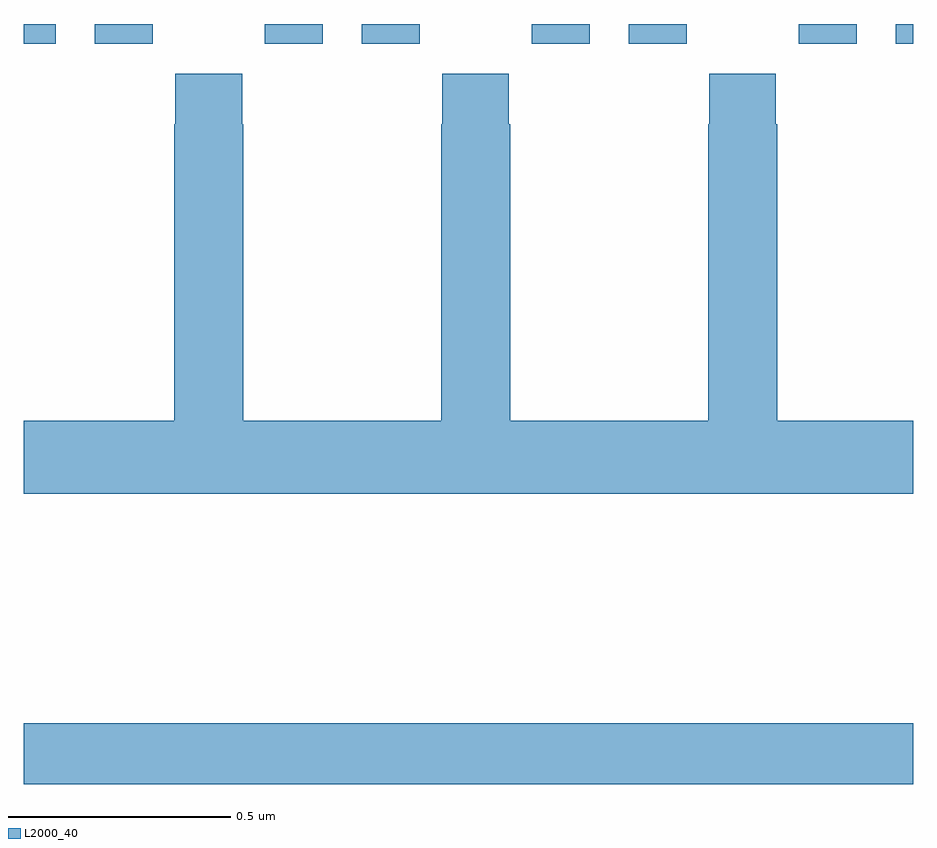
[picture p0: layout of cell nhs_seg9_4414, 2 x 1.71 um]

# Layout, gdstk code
import gdstk
lib = gdstk.Library(unit=1e-6, precision=1e-09)
def R(c, l, rs):  # rectangles x0, y0, x1, y1
    for r in rs: c.add(gdstk.rectangle(r[:2], r[2:], *l))
def P(c, l, *ps):  # polygons
    for p in ps: c.add(gdstk.Polygon(p, *l))
L2000_40 = (2000, 40)

nhs_seg9_4414 = lib.new_cell('nhs_seg9_4414')
R(nhs_seg9_4414, L2000_40, [(166,1171.792,168,1171.928), (166,1173.456,166.072,1173.5), (166.16,1173.456,166.29,1173.5), (166.542,1173.456,166.672,1173.5), (166.76,1173.456,166.89,1173.5), (167.142,1173.456,167.272,1173.5), (167.36,1173.456,167.49,1173.5), (167.742,1173.456,167.872,1173.5), (167.96,1173.456,168,1173.5)])
P(nhs_seg9_4414, L2000_40, [(168,1172.608),(167.694,1172.608),(167.694,1173.275),(167.691,1173.275),(167.691,1173.388),(167.541,1173.388),(167.541,1173.275),(167.539,1173.275),(167.539,1172.608),(167.094,1172.608),(167.094,1173.275),(167.091,1173.275),(167.091,1173.388),(166.941,1173.388),(166.941,1173.275),(166.939,1173.275),(166.939,1172.608),(166.494,1172.608),(166.494,1173.275),(166.491,1173.275),(166.491,1173.388),(166.341,1173.388),(166.341,1173.275),(166.339,1173.275),(166.339,1172.608),(166,1172.608),(166,1172.444),(168,1172.444)])

lib.write_gds('nhs_seg9_4414.gds')
